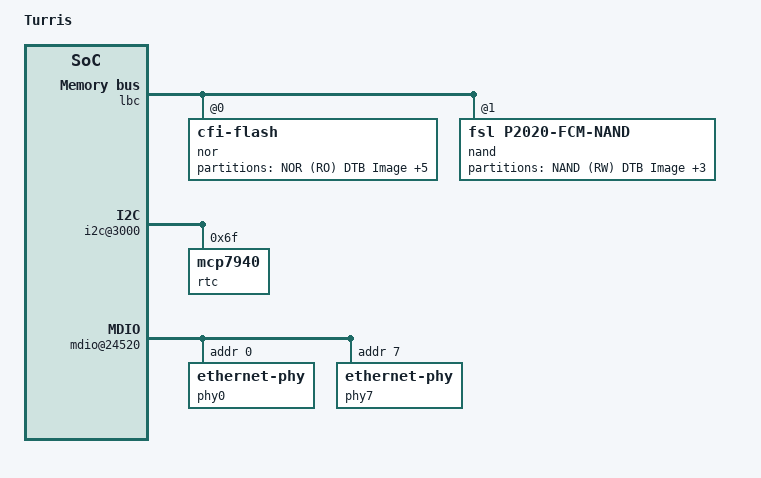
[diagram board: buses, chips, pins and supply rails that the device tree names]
/*
 * Turris RDB Device Tree Source
 *
 * Copyright 2013 CZ.NIC z.s.p.o. (http://www.nic.cz/)
 *
 * This program is free software; you can redistribute  it and/or modify it
 * under  the terms of  the GNU General  Public License as published by the
 * Free Software Foundation;  either version 2 of the  License, or (at your
 * option) any later version.
 */

/include/ "fsl/p2020si-pre.dtsi"

/ {
	model = "Turris";
	compatible = "fsl,P2020RDB";

	aliases {
		ethernet0 = &enet0;
		ethernet1 = &enet1;
		ethernet2 = &enet2;
		serial0 = &serial0;
		serial1 = &serial1;
		pci0 = &pci0;
		pci1 = &pci1;
		pci2 = &pci2;
	};

	memory {
		device_type = "memory";
	};

	lbc: localbus@ffe05000 {
		reg = <0 0xffe05000 0 0x1000>;

		/* NOR and NAND Flashes */
		ranges = <0x0 0x0 0x0 0xef000000 0x01000000
			  0x1 0x0 0x0 0xff800000 0x00040000
			  0x2 0x0 0x0 0xffb00000 0x00020000>;
		
		nor@0,0 {
                        #address-cells = <1>;
                        #size-cells = <1>;
                        compatible = "cfi-flash";
                        reg = <0x0 0x0 0x1000000>;
                        bank-width = <2>;
                        device-width = <1>;

                        partition@0 {
                                /* 128KB for DTB Image */
                                reg = <0x0 0x00020000>;
                                label = "NOR (RO) DTB Image";
                        };

                        partition@20000 {
                                /* 1.7 MB for Linux Kernel Image */
                                reg = <0x00020000 0x1A0000>;
                                label = "NOR (RO) Linux Kernel Image";
                        };

                        partition@1C0000 {
                                /* 1.5 MB for JFFS2 based Root file System */
                                reg = <0x001C0000 0x180000>;
                                label = "NOR (RO) JFFS2 Root File System";
                        };

                        partition@340000 {
                                /* for nand fw backup */
                                reg = <0x00340000 0xb00000>;
                                label = "NOR (RO) NAND FW backup";
                        };

                        partition@E40000 {
                                /* 128KB for Certificates backup */
                                reg = <0xE40000 0x000C0000>;
                                label = "NOR (RW) Cert backup";
                        };

                        partition@f00000 {
                                /* This location must not be altered  */
                                /* 512KB for u-boot Bootloader Image */
                                /* 512KB for u-boot Environment Variables */
                                reg = <0x00f00000 0x00100000>;
                                label = "NOR (RO) U-Boot Image";
                        };
                };
	
		nand@1,0 {
			nand-ecc-mode = "soft_bch";
                        nand-ecc-step-size = <512>;
                        nand-ecc-strength = <4>; 
	
			#address-cells = <1>;
			#size-cells = <1>;
			compatible = "fsl,p2020-fcm-nand",
				     "fsl,elbc-fcm-nand";
			reg = <0x1 0x0 0x00040000>;

			partition@0 {
				/* 2MB for DTB Image */
				reg = <0x00000000 0x00200000>;
				label = "NAND (RW) DTB Image";
			};

			partition@200000 {
				/* 5MB for Linux Kernel Image */
				reg = <0x00200000 0x00500000>;
				label = "NAND (RW) Linux Kernel Image";
			};

			partition@700000 {
				/* 249MB for JFFS2 based Root file System */
				reg = <0x00700000 0xF900000>;
				label = "NAND (RW) JFFS2 Root File System";
			};

                        partition@00 {
                                reg = <0x00000000 0x10000000>;
                                label = "rootfs-ubifs";
                        };
		};

	};

	soc: soc@ffe00000 {
		ranges = <0x0 0x0 0xffe00000 0x100000>;

		i2c@3000 {
			rtc@6f {
				compatible = "mcp7940";
				reg = <0x6f>;
			};
		};

		usb@22000 {
			phy_type = "ulpi";
			dr_mode = "host";
		};



	        mdio@24520 {
        	        phy0: ethernet-phy@0 {
                	        interrupts = <2 1 0 0>;
                        	reg = <0x0>;
                              qca,ar8327-initvals = <
                                        0x00004 0x07600000 /* PAD0_MODE - eth1 */
                                        0x00008 0x01000000 /* PAD5_MODE */
                                        0x0000c 0x07600000 /* PAD6_MODE - eth0 */
                                        0x00010 0x40000000 /* POWER_ON_STRIP */
                                        0x00050 0xcc35cc35 /* LED_CTRL0 */
                                        0x00054 0xca35ca35 /* LED_CTRL1 */
                                        0x00058 0xc935c935 /* LED_CTRL2 */
                                        0x0005c 0x03ffff00 /* LED_CTRL3 */
                                        0x0007c 0x0000007e /* PORT0_STATUS */
                                        0x00094 0x0000007e /* PORT6 STATUS */
                                >;
	                };
                        phy7: ethernet-phy@7 {
                                interrupts = <3 1 0 0>;
                                reg = <0x7>;
                        };
	        };

        	mdio@25520 {
                        status = "disabled";
	        };
	
        	mdio@26520 {
                        status = "disabled";
        	};


		ptp_clock@24e00 {
			fsl,tclk-period = <5>;
			fsl,tmr-prsc = <200>;
			fsl,tmr-add = <0xCCCCCCCD>;
			fsl,tmr-fiper1 = <0x3B9AC9FB>;
			fsl,tmr-fiper2 = <0x0001869B>;
			fsl,max-adj = <249999999>;
		};

	        enet0: ethernet@24000 {
                        phy-handle = <&phy0>;
	                phy-connection-type = "rgmii-id";
        	};

	        enet1: ethernet@25000 {
	                fixed-link = <6 1 1000 1 0>;
        	};

	        enet2: ethernet@26000 {
                	phy-handle = <&phy7>;
	                phy-connection-type = "rgmii-id";
        	};
	};
        pci2: pcie@ffe08000 {
                ranges = <0x2000000 0x0 0xc0000000 0 0xc0000000 0x0 0x20000000
                          0x1000000 0x0 0x00000000 0 0xffc20000 0x0 0x10000>;
                reg = <0 0xffe08000 0 0x1000>;
                pcie@0 {
                        ranges = <0x2000000 0x0 0xc0000000
                                  0x2000000 0x0 0xc0000000
                                  0x0 0x20000000

                                  0x1000000 0x0 0x0
                                  0x1000000 0x0 0x0
                                  0x0 0x10000>;
                };
        };

        pci1: pcie@ffe09000 {
                ranges = <0x2000000 0x0 0xa0000000 0 0xa0000000 0x0 0x20000000
                          0x1000000 0x0 0x00000000 0 0xffc10000 0x0 0x10000>;
                reg = <0 0xffe09000 0 0x1000>;
                pcie@0 {
                        ranges = <0x2000000 0x0 0xa0000000
                                  0x2000000 0x0 0xa0000000
                                  0x0 0x20000000

                                  0x1000000 0x0 0x0
                                  0x1000000 0x0 0x0
                                  0x0 0x10000>;
                };
        };

        pci0: pcie@ffe0a000 {
                ranges = <0x2000000 0x0 0x80000000 0 0x80000000 0x0 0x20000000
                          0x1000000 0x0 0x00000000 0 0xffc00000 0x0 0x10000>;
                reg = <0 0xffe0a000 0 0x1000>;
                pcie@0 {
                        ranges = <0x2000000 0x0 0x80000000
                                  0x2000000 0x0 0x80000000
                                  0x0 0x20000000

                                  0x1000000 0x0 0x0
                                  0x1000000 0x0 0x0
                                  0x0 0x10000>;
                };
        };

};

/include/ "fsl/p2020si-post.dtsi"
